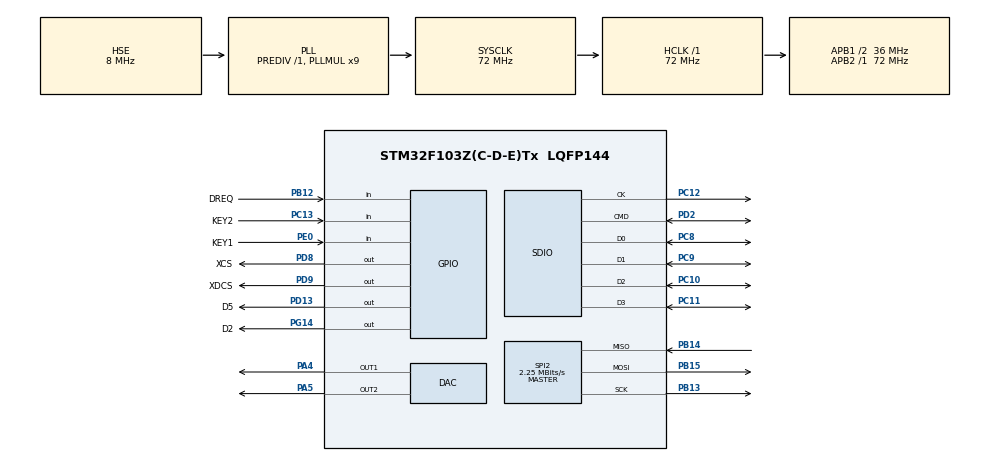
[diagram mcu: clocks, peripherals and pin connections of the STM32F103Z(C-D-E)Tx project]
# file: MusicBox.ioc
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DAC.DAC_OutputBuffer=DAC_OUTPUTBUFFER_ENABLE
DAC.DAC_OutputBuffer2=DAC_OUTPUTBUFFER_ENABLE
Mcu.Family=STM32F1
Mcu.Name=STM32F103Z(C-D-E)Tx
Mcu.Package=LQFP144
NVIC.PriorityGroup=NVIC_PRIORITYGROUP_4
OSC_IN.Mode=HSE-External-Oscillator
OSC_IN.Signal=RCC_OSC_IN
OSC_OUT.Mode=HSE-External-Oscillator
OSC_OUT.Signal=RCC_OSC_OUT
PA13.Mode=Trace_Synchro_4bits_JTAG
PA13.Signal=SYS_JTMS-SWDIO
PA14.Mode=Trace_Synchro_4bits_JTAG
PA14.Signal=SYS_JTCK-SWCLK
PA15.Mode=Trace_Synchro_4bits_JTAG
PA15.Signal=SYS_JTDI
PA4.Signal=COMP_DAC1_group
PA5.Signal=COMP_DAC2_group
PB12.GPIO_Label=DREQ
PB12.Signal=GPIO_Input
PB13.Mode=Full_Duplex_Master
PB13.Signal=SPI2_SCK
PB14.Mode=Full_Duplex_Master
PB14.Signal=SPI2_MISO
PB15.Mode=Full_Duplex_Master
PB15.Signal=SPI2_MOSI
PB3.Mode=Trace_Synchro_4bits_JTAG
PB3.Signal=SYS_JTDO-TRACESWO
PC10.Mode=SD_4_bits_Wide_bus
PC10.Signal=SDIO_D2
PC11.Mode=SD_4_bits_Wide_bus
PC11.Signal=SDIO_D3
PC12.Mode=SD_4_bits_Wide_bus
PC12.Signal=SDIO_CK
PC13-TAMPER-RTC.GPIO_Label=KEY2
PC13-TAMPER-RTC.Signal=GPIO_Input
PC14-OSC32_IN.Mode=LSE-External-Oscillator
PC14-OSC32_IN.Signal=RCC_OSC32_IN
PC15-OSC32_OUT.Mode=LSE-External-Oscillator
PC15-OSC32_OUT.Signal=RCC_OSC32_OUT
PC8.Mode=SD_4_bits_Wide_bus
PC8.Signal=SDIO_D0
PC9.Mode=SD_4_bits_Wide_bus
PC9.Signal=SDIO_D1
PD13.GPIO_Label=D5
PD13.GPIO_Speed=GPIO_SPEED_FREQ_HIGH
PD13.Signal=GPIO_Output
PD2.Mode=SD_4_bits_Wide_bus
PD2.Signal=SDIO_CMD
PD8.GPIO_Label=XCS
PD8.GPIO_Speed=GPIO_SPEED_FREQ_HIGH
PD8.PinState=GPIO_PIN_SET
PD8.Signal=GPIO_Output
PD9.GPIO_Label=XDCS
PD9.GPIO_Speed=GPIO_SPEED_FREQ_HIGH
PD9.PinState=GPIO_PIN_SET
PD9.Signal=GPIO_Output
PE0.GPIO_Label=KEY1
PE0.Signal=GPIO_Input
PE2.Mode=Trace_Synchro_4bits_JTAG
PE2.Signal=SYS_TRACECLK
PE3.Mode=Trace_Synchro_4bits_JTAG
PE3.Signal=SYS_TRACED0
PE4.Mode=Trace_Synchro_4bits_JTAG
PE4.Signal=SYS_TRACED1
PE5.Mode=Trace_Synchro_4bits_JTAG
PE5.Signal=SYS_TRACED2
PE6.Mode=Trace_Synchro_4bits_JTAG
PE6.Signal=SYS_TRACED3
PG14.GPIO_Label=D2
PG14.Signal=GPIO_Output
ProjectManager.HeapSize=0x800
ProjectManager.StackSize=0x1600
ProjectManager.TargetToolchain=MDK-ARM V5
RCC.AHBFreq_Value=72000000
RCC.APB1CLKDivider=RCC_HCLK_DIV2
RCC.APB1Freq_Value=36000000
RCC.APB1TimFreq_Value=72000000
RCC.APB2Freq_Value=72000000
RCC.APB2TimFreq_Value=72000000
RCC.EnbaleCSS=true
RCC.HCLKFreq_Value=72000000
RCC.PLLMUL=RCC_PLL_MUL9
RCC.PLLSourceVirtual=RCC_PLLSOURCE_HSE
RCC.SYSCLKFreq_VALUE=72000000
RCC.SYSCLKSource=RCC_SYSCLKSOURCE_PLLCLK
RCC.USBFreq_Value=72000000
SDIO.ClockDiv=1
SH.COMP_DAC1_group.0=DAC_OUT1,DAC_OUT1
SH.COMP_DAC2_group.0=DAC_OUT2,DAC_OUT2
SPI2.BaudRatePrescaler=SPI_BAUDRATEPRESCALER_16
SPI2.CalculateBaudRate=2.25 MBits/s
SPI2.Direction=SPI_DIRECTION_2LINES
SPI2.Mode=SPI_MODE_MASTER
SPI2.VirtualType=VM_MASTER
VP_FATFS_VS_SDIO.Mode=SDIO
board=MusicBox

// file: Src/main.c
/**
  ******************************************************************************
  * File Name          : main.c
  * Description        : Main program body
  ******************************************************************************
  * This notice applies to any and all portions of this file
  * that are not between comment pairs USER CODE BEGIN and
  * USER CODE END. Other portions of this file, whether
  * inserted by the user or by software development tools
  * are owned by their respective copyright owners.
  *
  * Copyright (c) 2017 STMicroelectronics International N.V.
  * All rights reserved.
  *
  * Redistribution and use in source and binary forms, with or without
  * modification, are permitted, provided that the following conditions are met:
  *
  * 1. Redistribution of source code must retain the above copyright notice,
  *    this list of conditions and the following disclaimer.
  * 2. Redistributions in binary form must reproduce the above copyright notice,
  *    this list of conditions and the following disclaimer in the documentation
  *    and/or other materials provided with the distribution.
  * 3. Neither the name of STMicroelectronics nor the names of other
  *    contributors to this software may be used to endorse or promote products
  *    derived from this software without specific written permission.
  * 4. This software, including modifications and/or derivative works of this
  *    software, must execute solely and exclusively on microcontroller or
  *    microprocessor devices manufactured by or for STMicroelectronics.
  * 5. Redistribution and use of this software other than as permitted under
  *    this license is void and will automatically terminate your rights under
  *    this license.
  *
  * THIS SOFTWARE IS PROVIDED BY STMICROELECTRONICS AND CONTRIBUTORS "AS IS"
  * AND ANY EXPRESS, IMPLIED OR STATUTORY WARRANTIES, INCLUDING, BUT NOT
  * LIMITED TO, THE IMPLIED WARRANTIES OF MERCHANTABILITY, FITNESS FOR A
  * PARTICULAR PURPOSE AND NON-INFRINGEMENT OF THIRD PARTY INTELLECTUAL PROPERTY
  * RIGHTS ARE DISCLAIMED TO THE FULLEST EXTENT PERMITTED BY LAW. IN NO EVENT
  * SHALL STMICROELECTRONICS OR CONTRIBUTORS BE LIABLE FOR ANY DIRECT, INDIRECT,
  * INCIDENTAL, SPECIAL, EXEMPLARY, OR CONSEQUENTIAL DAMAGES (INCLUDING, BUT NOT
  * LIMITED TO, PROCUREMENT OF SUBSTITUTE GOODS OR SERVICES; LOSS OF USE, DATA,
  * OR PROFITS; OR BUSINESS INTERRUPTION) HOWEVER CAUSED AND ON ANY THEORY OF
  * LIABILITY, WHETHER IN CONTRACT, STRICT LIABILITY, OR TORT (INCLUDING
  * NEGLIGENCE OR OTHERWISE) ARISING IN ANY WAY OUT OF THE USE OF THIS SOFTWARE,
  * EVEN IF ADVISED OF THE POSSIBILITY OF SUCH DAMAGE.
  *
  ******************************************************************************
  */
#include "main.h"
#include "stm32f1xx_hal.h"
#include "dac.h"
#include "fatfs.h"
#include "sdio.h"
#include "spi.h"
#include "gpio.h"

/* USER CODE BEGIN Includes */
#include <string.h>
#include <stdlib.h>
#include <assert.h>
/* USER CODE END Includes */

/* USER CODE BEGIN PV */
/* Private variables ---------------------------------------------------------*/
const int SCI_MODE 		= 0x00;
const int SCI_CLOCKF 	= 0x03;
const int SCI_DECODE_TIME = 0x04;
const int SCI_VOL 		= 0x0b;
/* USER CODE END PV */

void SystemClock_Config(void);

/* USER CODE BEGIN PFP */
/* Private function prototypes -----------------------------------------------*/

/* USER CODE END PFP */

/* USER CODE BEGIN 0 */
void setReg(uint8_t reg, uint16_t data) {
	HAL_GPIO_WritePin(XCS_GPIO_Port, XCS_Pin, GPIO_PIN_RESET);
	uint8_t cmd[4] = {0x02, reg, data>>8, data};
	HAL_SPI_Transmit(&hspi2, cmd, 4, 100);
	HAL_GPIO_WritePin(XCS_GPIO_Port, XCS_Pin, GPIO_PIN_SET);
}

uint16_t getReg(uint8_t reg) {
	uint8_t cmd[2] = {0x03, reg};
	uint8_t ans[2];
	HAL_GPIO_WritePin(XCS_GPIO_Port, XCS_Pin, GPIO_PIN_RESET);
	HAL_SPI_Transmit(&hspi2, cmd, 2, 100);
	HAL_SPI_Receive(&hspi2, ans, 2, 100);
	HAL_GPIO_WritePin(XCS_GPIO_Port, XCS_Pin, GPIO_PIN_SET);
	uint16_t ret = ans[0];
	ret <<= 8;
	ret += ans[1];
	return ret;
}

/* USER CODE END 0 */

int main(void)
{

  /* MCU Configuration----------------------------------------------------------*/

  /* Reset of all peripherals, Initializes the Flash interface and the Systick. */
  HAL_Init();

  /* Configure the system clock */
  SystemClock_Config();

  /* Initialize all configured peripherals */
  MX_GPIO_Init();
  MX_SDIO_SD_Init();
  MX_FATFS_Init();
  MX_DAC_Init();
  MX_SPI2_Init();

  /* USER CODE BEGIN 2 */
	FATFS fs;
	if (f_mount(&fs, SD_Path, 1)!=FR_OK)
		HAL_GPIO_WritePin(D5_GPIO_Port, D5_Pin, GPIO_PIN_RESET);

	int cntMusicFiles = 0;
	char* pszMusicFiles[256];

	DIR dp;
	f_opendir(&dp, "0:/");
	FILINFO fno;

	f_readdir(&dp, &fno);
	while (fno.fname[0]) {
		if (strstr(fno.fname,".MID")==NULL)
			if (strstr(fno.fname,".WAV")==NULL)
				if (strstr(fno.fname,".MP3")==NULL) {
					f_readdir(&dp, &fno);
					continue;
		}
		pszMusicFiles[cntMusicFiles] = (char*) malloc(13);
		strcpy(pszMusicFiles[cntMusicFiles++], fno.fname);
		f_readdir(&dp, &fno);
	}
	f_closedir(&dp);

	for (int i=0;i<cntMusicFiles;++i)
		printf("%s\n", pszMusicFiles[i]);

	assert(cntMusicFiles);

  /* USER CODE END 2 */

  /* Infinite loop */
  while (1)
  {

  /* USER CODE BEGIN 3 */
		static int idInPlay = 0;
		if (idInPlay == cntMusicFiles)
			idInPlay = 0;

		static FIL fp;
		f_open(&fp, pszMusicFiles[idInPlay], FA_READ);

		setReg(SCI_MODE, 0x4804);
		HAL_Delay(10);
		setReg(SCI_CLOCKF, 0x8BE8);
		HAL_Delay(10);

		int run = 1;
		while (!f_eof(&fp)&&run) {
			while (HAL_GPIO_ReadPin(DREQ_GPIO_Port, DREQ_Pin)==GPIO_PIN_RESET)
				if (HAL_GPIO_ReadPin(KEY1_GPIO_Port, KEY1_Pin)==GPIO_PIN_RESET)
					run = 0;
			uint8_t data[32];
			UINT br;
			f_read(&fp,data,32,&br);
			HAL_GPIO_WritePin(XDCS_GPIO_Port, XDCS_Pin, GPIO_PIN_RESET);
			HAL_SPI_Transmit(&hspi2, data, br, 100);
			HAL_GPIO_WritePin(XDCS_GPIO_Port, XDCS_Pin, GPIO_PIN_SET);
		}

		// If file EOF, wait for finish of playing.
		int lDecTime = getReg(SCI_DECODE_TIME);
		while (run) {
			// Wait for 1100ms and listen if KEY1 pressed
			uint32_t tickstart = 0;
			tickstart = HAL_GetTick();
			while((HAL_GetTick() - tickstart) < 1100) {
				if (HAL_GPIO_ReadPin(KEY1_GPIO_Port, KEY1_Pin)==GPIO_PIN_RESET)
					run = 0;
			}

			int decTime = getReg(SCI_DECODE_TIME);
			if (decTime==lDecTime)
				break;
			lDecTime = decTime;
		}

		// Blink LED.
		HAL_GPIO_WritePin(D2_GPIO_Port, D2_Pin, GPIO_PIN_SET);
		HAL_Delay(50);
		HAL_GPIO_WritePin(D2_GPIO_Port, D2_Pin, GPIO_PIN_RESET);

		f_close(&fp);
		++idInPlay;
  }
  /* USER CODE END 3 */

}

/** System Clock Configuration
*/
void SystemClock_Config(void)
{

  RCC_OscInitTypeDef RCC_OscInitStruct;
  RCC_ClkInitTypeDef RCC_ClkInitStruct;

    /**Initializes the CPU, AHB and APB busses clocks
    */
  RCC_OscInitStruct.OscillatorType = RCC_OSCILLATORTYPE_HSE;
  RCC_OscInitStruct.HSEState = RCC_HSE_ON;
  RCC_OscInitStruct.HSEPredivValue = RCC_HSE_PREDIV_DIV1;
  RCC_OscInitStruct.HSIState = RCC_HSI_ON;
  RCC_OscInitStruct.PLL.PLLState = RCC_PLL_ON;
  RCC_OscInitStruct.PLL.PLLSource = RCC_PLLSOURCE_HSE;
  RCC_OscInitStruct.PLL.PLLMUL = RCC_PLL_MUL9;
  if (HAL_RCC_OscConfig(&RCC_OscInitStruct) != HAL_OK)
  {
    _Error_Handler(__FILE__, __LINE__);
  }

    /**Initializes the CPU, AHB and APB busses clocks
    */
  RCC_ClkInitStruct.ClockType = RCC_CLOCKTYPE_HCLK|RCC_CLOCKTYPE_SYSCLK
                              |RCC_CLOCKTYPE_PCLK1|RCC_CLOCKTYPE_PCLK2;
  RCC_ClkInitStruct.SYSCLKSource = RCC_SYSCLKSOURCE_PLLCLK;
  RCC_ClkInitStruct.AHBCLKDivider = RCC_SYSCLK_DIV1;
  RCC_ClkInitStruct.APB1CLKDivider = RCC_HCLK_DIV2;
  RCC_ClkInitStruct.APB2CLKDivider = RCC_HCLK_DIV1;

  if (HAL_RCC_ClockConfig(&RCC_ClkInitStruct, FLASH_LATENCY_2) != HAL_OK)
  {
    _Error_Handler(__FILE__, __LINE__);
  }

    /**Enables the Clock Security System
    */
  HAL_RCC_EnableCSS();

    /**Configure the Systick interrupt time
    */
  HAL_SYSTICK_Config(HAL_RCC_GetHCLKFreq()/1000);

    /**Configure the Systick
    */
  HAL_SYSTICK_CLKSourceConfig(SYSTICK_CLKSOURCE_HCLK);

  /* SysTick_IRQn interrupt configuration */
  HAL_NVIC_SetPriority(SysTick_IRQn, 0, 0);
}

void _Error_Handler(char * file, int line)
{
  while(1)
  {
  }
}

/************************ (C) COPYRIGHT STMicroelectronics *****END OF FILE****/
